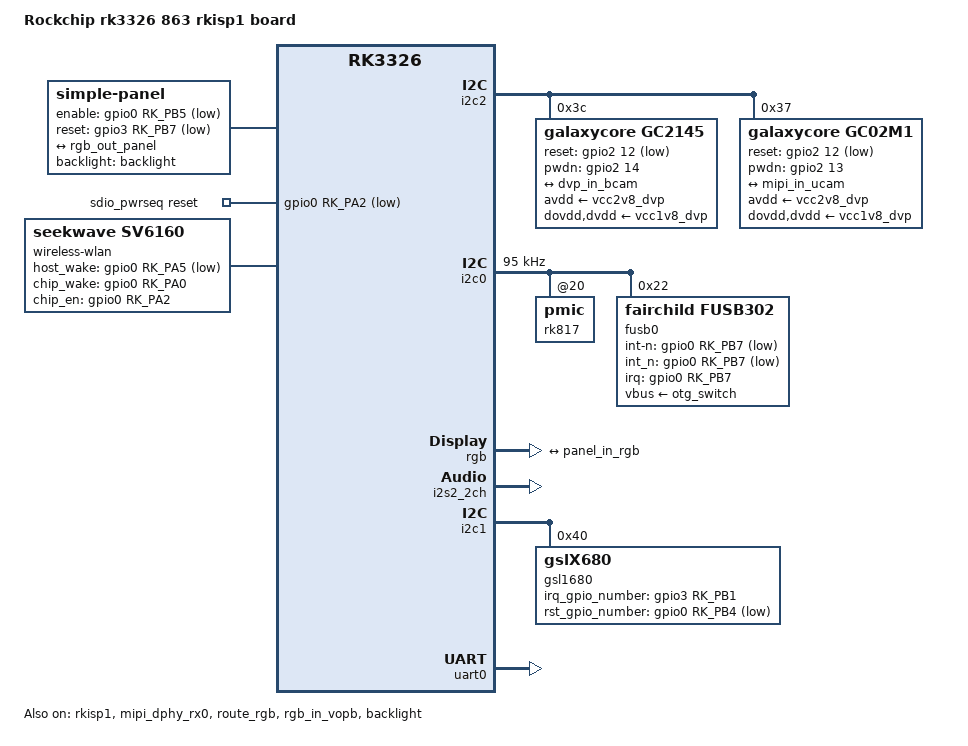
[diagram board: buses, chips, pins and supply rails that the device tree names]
// SPDX-License-Identifier: (GPL-2.0+ OR MIT)
/*
 * Copyright (c) 2019 Fuzhou Rockchip Electronics Co., Ltd
 */

/dts-v1/;
#include "rk3326-863-lp3-v10.dtsi"

/ {
	model = "Rockchip rk3326 863 rkisp1 board";
	compatible = "rockchip,rk3326-863-lp3-v10-rkisp1", "rockchip,rk3326";

	panel {
		compatible = "simple-panel";
		bus-format = <MEDIA_BUS_FMT_RGB888_1X24>;
		backlight = <&backlight>;
		enable-gpios = <&gpio0 RK_PB5 GPIO_ACTIVE_LOW>;
		reset-gpios = <&gpio3 RK_PB7 GPIO_ACTIVE_LOW>;
		enable-delay-ms = <35>;
		prepare-delay-ms = <6>;
		disable-delay-ms = <100>;
		status = "okay";

		display-timings {
			native-mode = <&timing>;
			timing: timing {
				clock-frequency = <51200000>;
				hactive = <1024>;
				vactive = <600>;
				hback-porch = <136>;
				hfront-porch = <160>;
				vback-porch = <21>;
				vfront-porch = <12>;
				hsync-len = <24>;
				vsync-len = <2>;
				hsync-active = <0>;
				vsync-active = <0>;
				de-active = <0>;
				pixelclk-active = <0>;
			};
		};
		port {
			panel_in_rgb: endpoint {
				remote-endpoint = <&rgb_out_panel>;
			};
		};
	};

	bt-sound {
		compatible = "simple-audio-card";
		status = "okay";
		simple-audio-card,format = "dsp_b";
		simple-audio-card,bitclock-inversion = <1>;
		simple-audio-card,mclk-fs = <256>;
		simple-audio-card,name = "rockchip,bt";
		simple-audio-card,cpu {
			sound-dai = <&i2s2_2ch>;
		};
		simple-audio-card,codec {
			sound-dai = <&bt_sco>;
		};
	};

	bt_sco: bt-sco {
		compatible = "delta,dfbmcs320";
		#sound-dai-cells = <0>;
		status = "okay";
	};


	sdio_pwrseq: sdio-pwrseq {
		compatible = "mmc-pwrseq-simple";
		/*clocks = <&rk817 1>;*/
		/*clock-names = "ext_clock";*/
		pinctrl-names = "default";
		pinctrl-0 = <&wifi_enable_h>;

		/*
		 * On the module itself this is one of these (depending
		 * on the actual card populated):
		 * - SDIO_RESET_L_WL_REG_ON
		 * - PDN (power down when low)
		 */
		reset-gpios = <&gpio0 RK_PA2 GPIO_ACTIVE_LOW>; /* GPIO3_A4 */
	};


	wireless-wlan {
		compatible = "seekwave,sv6160";
		sv6160_path = "/vendor/bin/sv6160.bin";
		sv6160_dram_path = "/vendor/etc/firmware/RAM_RW_KERNEL_DRAM";
		sv6160_iram_path = "/vendor/etc/firmware/ROM_EXEC_KERNEL_IRAM";
		dma_type = <1>;/*1:ADMA,2:SDMA*/
		status = "okay";
		gpio_host_wake = <&gpio0 RK_PA5 GPIO_ACTIVE_LOW>;
		gpio_chip_wake = <&gpio0 RK_PA0 GPIO_ACTIVE_HIGH>;
		gpio_chip_en = <&gpio0 RK_PA2 GPIO_ACTIVE_HIGH>;
	};

	wireless-bluetooth {
		status = "disabled";
	};

};

&px30s_dmc_opp_table {
		opp-800000000 {
				opp-hz = /bits/ 64 <800000000>;
				opp-microvolt = <950000>;
				status = "okay";
		};
};

&ddr4_params {
		/* freq info, freq_0 is final frequency, unit: MHz */
		freq_0 = <800>;
};

&chosen {
	bootargs_ext = "androidboot.boot_devices=ff390000.dwmmc,ff3b0000.nandc";
};

&i2c2 {
	status = "okay";

	gc2145: gc2145@3c {
		status = "okay";
		compatible = "galaxycore,gc2145";
		reg = <0x3c>;
		//pinctrl-names = "default";
		//pinctrl-0 = <&cif_clkout_m0>;

		clocks = <&cru SCLK_CIF_OUT>;
		clock-names = "xvclk";

		avdd-supply = <&vcc2v8_dvp>;
		dovdd-supply = <&vcc1v8_dvp>;
		dvdd-supply = <&vcc1v8_dvp>;

		reset-gpios = <&gpio2 12 GPIO_ACTIVE_LOW>;
		pwdn-gpios = <&gpio2 14 GPIO_ACTIVE_HIGH>;
		rockchip,camera-module-index = <0>;
		rockchip,camera-module-facing = "back";
		rockchip,camera-module-name = "default";
		rockchip,camera-module-lens-name = "default";
		port {
			gc2145_out: endpoint {
				remote-endpoint = <&dvp_in_bcam>;
			};
		};
	};

	gc02m1@37 {
		status = "okay";
		compatible = "galaxycore,gc02m1";
		reg = <0x37>;
		clocks = <&cru SCLK_CIF_OUT>;
		clock-names = "xvclk";

		avdd-supply = <&vcc2v8_dvp>;
		dovdd-supply = <&vcc1v8_dvp>;
		dvdd-supply = <&vcc1v8_dvp>;

		reset-gpios = <&gpio2 12 GPIO_ACTIVE_LOW>;
		pwdn-gpios = <&gpio2 13 GPIO_ACTIVE_HIGH>;

        rockchip,camera-module-index = <1>;
		rockchip,camera-module-facing = "front";
		rockchip,camera-module-name = "default";
        rockchip,camera-module-lens-name = "default";
		//	flash-leds = <&flash_rgb13h>;
		port {
			ucam_out: endpoint {
				remote-endpoint = <&mipi_in_ucam>;
				data-lanes = <1>;
			};
		};
	};
};

&isp_mmu {
	status = "okay";
};

&dvp_d2d9_m0 {
	rockchip,pins =
		<2 RK_PA0 1 &pcfg_pull_down>,/* cif_data2 */
		<2 RK_PA1 1 &pcfg_pull_down>,/* cif_data3 */
		<2 RK_PA2 1 &pcfg_pull_down>,/* cif_data4 */
		<2 RK_PA3 1 &pcfg_pull_down>,/* cif_data5 */
		<2 RK_PA4 1 &pcfg_pull_down>,/* cif_data6 */
		<2 RK_PA5 1 &pcfg_pull_down>,/* cif_data7 */
		<2 RK_PA6 1 &pcfg_pull_down>,/* cif_data8 */
		<2 RK_PA7 1 &pcfg_pull_down>,/* cif_data9 */
		<2 RK_PB0 1 &pcfg_pull_down>,/* cif_sync */
		<2 RK_PB1 1 &pcfg_pull_down>,/* cif_href */
		<2 RK_PB2 1 &pcfg_pull_down>,/* cif_clkin */
		<2 RK_PB3 1 &pcfg_pull_none_4ma>;/* cif_clkout */
};

&rkisp1 {
	status = "okay";
	pinctrl-names = "default";
	pinctrl-0 = <&dvp_d2d9_m0>;

	ports {
		#address-cells = <1>;
		#size-cells = <0>;
		port@0 {
			reg = <0>;
			#address-cells = <1>;
			#size-cells = <0>;
			isp0_mipi_in: endpoint@0 {
			reg = <0>;
			remote-endpoint = <&dphy_rx0_out>;
			};
	    };

        port@1 {
			reg = <0>;
			#address-cells = <1>;
			#size-cells = <0>;

			dvp_in_bcam: endpoint@0 {
			reg = <0>;
			remote-endpoint = <&gc2145_out>;
			};
	    };
	};
};

&mipi_dphy_rx0 {
	status = "okay";

	ports {
		#address-cells = <1>;
		#size-cells = <0>;

		port@0 {
			reg = <0>;
			#address-cells = <1>;
			#size-cells = <0>;

			mipi_in_ucam: endpoint@1 {
				reg = <0>;
				remote-endpoint = <&ucam_out>;
				data-lanes = <1>;
			};
		};

		port@1 {
			reg = <1>;
			#address-cells = <1>;
			#size-cells = <0>;

			dphy_rx0_out: endpoint@0 {
				reg = <0>;
				remote-endpoint = <&isp0_mipi_in>;
			};
		};
	};
};

&pinctrl {
	pmic {
	pmic_int: pmic_int {
		rockchip,pins =
			<0 RK_PC1 RK_FUNC_GPIO &pcfg_pull_up>;
		};
	};

	fusb0 {
		fusb0_int: fusb0-int {
			rockchip,pins =
				<0 RK_PB7 RK_FUNC_GPIO &pcfg_pull_up>;
			};
	};

	lcdc {
		lcdc_m1_rgb_pins: lcdc-m1-rgb-pins {
			rockchip,pins =
				<3 RK_PA0 1 &pcfg_pull_none_2ma>,       /* LCDC_DCLK */
				<3 RK_PA4 1 &pcfg_pull_none_2ma>,       /* LCDC_D0 */
				<3 RK_PA6 1 &pcfg_pull_none_2ma>,       /* LCDC_D2 */
				<3 RK_PB2 1 &pcfg_pull_none_2ma>,       /* LCDC_D6 */
				<3 RK_PB3 1 &pcfg_pull_none_2ma>,       /* LCDC_D7 */
				<3 RK_PB5 1 &pcfg_pull_none_2ma>,       /* LCDC_D9 */
				<3 RK_PC0 1 &pcfg_pull_none_2ma>,       /* LCDC_D12 */
				<3 RK_PC1 1 &pcfg_pull_none_2ma>,       /* LCDC_D13 */
				<3 RK_PC2 1 &pcfg_pull_none_2ma>,       /* LCDC_D14 */
				<3 RK_PC3 1 &pcfg_pull_none_2ma>,       /* LCDC_D15 */
				<3 RK_PC4 1 &pcfg_pull_none_2ma>,       /* LCDC_D16 */
				<3 RK_PC5 1 &pcfg_pull_none_2ma>,       /* LCDC_D17 */
				<3 RK_PC6 1 &pcfg_pull_none_2ma>,       /* LCDC_D18 */
				<3 RK_PC7 1 &pcfg_pull_none_2ma>,       /* LCDC_D19 */
				<3 RK_PD0 1 &pcfg_pull_none_2ma>,       /* LCDC_D20 */
				<3 RK_PD1 1 &pcfg_pull_none_2ma>,       /* LCDC_D21 */
				<3 RK_PD2 1 &pcfg_pull_none_2ma>,       /* LCDC_D22 */
				<3 RK_PD3 1 &pcfg_pull_none_2ma>;       /* LCDC_D23 */
		};

		lcdc_m1_sleep_pins: lcdc-m1-sleep-pins {
			rockchip,pins =
				<3 RK_PA0 RK_FUNC_GPIO &pcfg_pull_none>,        /* LCDC_DCLK */
				<3 RK_PA4 RK_FUNC_GPIO &pcfg_pull_none>,        /* LCDC_D0 */
				<3 RK_PA6 RK_FUNC_GPIO &pcfg_pull_none>,        /* LCDC_D2 */
				<3 RK_PB2 RK_FUNC_GPIO &pcfg_pull_none>,        /* LCDC_D6 */
				<3 RK_PB3 RK_FUNC_GPIO &pcfg_pull_none>,        /* LCDC_D7 */
				<3 RK_PB5 RK_FUNC_GPIO &pcfg_pull_none>,        /* LCDC_D9 */
				<3 RK_PC0 RK_FUNC_GPIO &pcfg_pull_none>,        /* LCDC_D12 */
				<3 RK_PC1 RK_FUNC_GPIO &pcfg_pull_none>,        /* LCDC_D13 */
				<3 RK_PC2 RK_FUNC_GPIO &pcfg_pull_none>,        /* LCDC_D14 */
				<3 RK_PC3 RK_FUNC_GPIO &pcfg_pull_none>,        /* LCDC_D15 */
				<3 RK_PC4 RK_FUNC_GPIO &pcfg_pull_none>,        /* LCDC_D16 */
				<3 RK_PC5 RK_FUNC_GPIO &pcfg_pull_none>,        /* LCDC_D17 */
				<3 RK_PC6 RK_FUNC_GPIO &pcfg_pull_none>,        /* LCDC_D18 */
				<3 RK_PC7 RK_FUNC_GPIO &pcfg_pull_none>,        /* LCDC_D19 */
				<3 RK_PD0 RK_FUNC_GPIO &pcfg_pull_none>,        /* LCDC_D20 */
				<3 RK_PD1 RK_FUNC_GPIO &pcfg_pull_none>,        /* LCDC_D21 */
				<3 RK_PD2 RK_FUNC_GPIO &pcfg_pull_none>,        /* LCDC_D22 */
				<3 RK_PD3 RK_FUNC_GPIO &pcfg_pull_none>;        /* LCDC_D23 */
		};
	};

	emmc {
		emmc_clk: emmc-clk {
			rockchip,pins =
				<1 RK_PB1 RK_FUNC_2 &pcfg_pull_none_2ma>;
		};

		emmc_rstnout: emmc-rstnout {
			rockchip,pins =
				<1 RK_PB3 RK_FUNC_2 &pcfg_pull_none_2ma>;
		};

	};
};

&i2c0 {
	clock-frequency = <95000>;
	rk817: pmic@20 {
		interrupts = <RK_PC1 IRQ_TYPE_LEVEL_LOW>;

		charger {
			extcon = <&fusb0>;
		};
	};

	fusb0: fusb302@22 {
		compatible = "fairchild,fusb302";
		reg = <0x22>;
		pinctrl-names = "default";
		pinctrl-0 = <&fusb0_int>;
		interrupt-parent = <&gpio0>;
		interrupts = <RK_PB7 IRQ_TYPE_LEVEL_LOW>;
		int-n-gpios = <&gpio0 RK_PB7 GPIO_ACTIVE_LOW>;
		charge-dev = <&rk817>;
		fusb302,role = "ROLE_MODE_DRP";
		fusb302,try_role = "ROLE_MODE_UFP";
		fairchild,int_n = <&gpio0 RK_PB7 GPIO_ACTIVE_LOW>;
		vbus-supply = <&otg_switch>;
		status = "okay";
	};
};

&rgb {
	status = "okay";
	ports {
		port@1 {
			reg = <1>;
			rgb_out_panel: endpoint {
				 remote-endpoint = <&panel_in_rgb>;
			};
		};
	};
};

&route_rgb {
	status = "okay";
};

&rgb_in_vopb {
	status = "okay";
};

&rgb_in_vopl {
	status = "disabled";
};

&dsi {
	status = "disabled";
};

&dsi_in_vopb {
	status = "disabled";
};

&route_dsi {
	status = "disabled";
};

&backlight{
	status = "okay";
	post-pwm-on-delay-ms = <40>;
};

&i2s2_2ch {
	status = "okay";
	rockchip,bclk-fs = <32>;
	#sound-dai-cells = <0>;
};

&i2c1 {
	status = "okay";

	ts@40 {
		status = "disabled";
	};

	gsl1680: gsl1680@40 {
		status = "okay";
		compatible = "gslX680";
		reg = <0x40>;
		irq_gpio_number = <&gpio3 RK_PB1 IRQ_TYPE_LEVEL_HIGH>;
		rst_gpio_number = <&gpio0 RK_PB4 GPIO_ACTIVE_LOW>;
	};
};

&io_domains {
	vccio3-supply = <&vcc1v8_dvp>;
};

&u2phy {
	extcon = <&fusb0>;
};

&uart0 {
	pinctrl-names = "default";
	pinctrl-0 = <&uart0_xfer &uart0_cts>;
	status = "okay";
};
